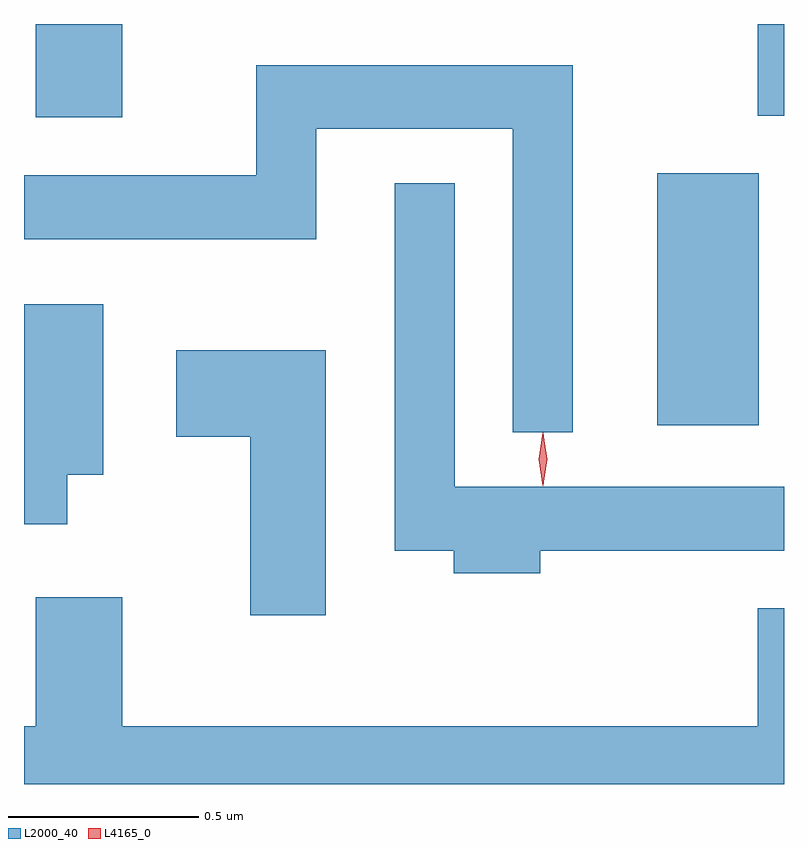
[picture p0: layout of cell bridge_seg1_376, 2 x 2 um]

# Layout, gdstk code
import gdstk
lib = gdstk.Library(unit=1e-6, precision=1e-09)
def R(c, l, rs):  # rectangles x0, y0, x1, y1
    for r in rs: c.add(gdstk.rectangle(r[:2], r[2:], *l))
def P(c, l, *ps):  # polygons
    for p in ps: c.add(gdstk.Polygon(p, *l))
L2000_40 = (2000, 40)
L4165_0 = (4165, 0)

bridge_seg1_376 = lib.new_cell('bridge_seg1_376')
R(bridge_seg1_376, L2000_40, [(885.696,869.556,885.964,870.219), (884.061,870.366,884.289,870.612), (885.961,870.371,886.03,870.612)])
P(bridge_seg1_376, L2000_40, [(885.474,870.504),(884.641,870.504),(884.641,870.214),(884.03,870.214),(884.03,870.046),(884.799,870.046),(884.799,870.336),(885.316,870.336),(885.316,869.538),(885.474,869.538)],
  [(885.389,869.226),(886.03,869.226),(886.03,869.394),(885.164,869.394),(885.164,870.193),(885.006,870.193),(885.006,869.226),(885.161,869.226),(885.161,869.166),(885.389,869.166)],
  [(884.144,869.426),(884.239,869.426),(884.239,869.874),(884.03,869.874),(884.03,869.296),(884.144,869.296)],
  [(884.824,869.754),(884.431,869.754),(884.431,869.526),(884.626,869.526),(884.626,869.056),(884.824,869.056)],
  [(886.03,869.074),(885.961,869.074),(885.961,868.764),(884.289,868.764),(884.289,869.104),(884.061,869.104),(884.061,868.764),(884.03,868.764),(884.03,868.612),(886.03,868.612)])
P(bridge_seg1_376, L4165_0, [(885.395,869.397),(885.395,869.397),(885.385,869.467),(885.395,869.536),(885.395,869.536),(885.396,869.536),(885.406,869.467),(885.396,869.397)],
  [(885.397,869.399),(885.396,869.4),(885.387,869.466),(885.396,869.532),(885.397,869.533),(885.397,869.532),(885.407,869.466),(885.397,869.4)])

lib.write_gds('bridge_seg1_376.gds')
